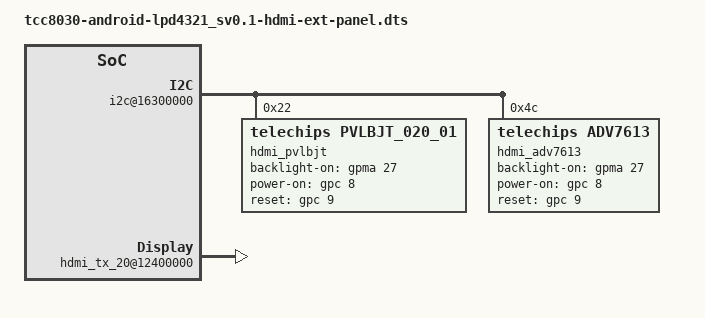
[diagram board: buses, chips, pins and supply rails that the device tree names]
// SPDX-License-Identifier: (GPL-2.0-or-later OR MIT)
/*
 * Copyright (C) Telechips Inc.
 */

#include "tcc8030-android-lpd4321_sv0.1.dts"

&pinctrl {
	hdmi_panel: hdmi_panel {
		telechips,pins = "gpma-27", "gpc-8", "gpc-9";
		telechips,pin-function = <0>;
		telechips,pull-up;
	};
};

/ {


	/* hdmi override. */
	i2c@16300000 {
		#address-cells = <1>;
		#size-cells = <0>;
		hdmi_pvlbjt {
			compatible = "telechips,pvlbjt_020_01";
			reg=<0x22>;
			hdmi-ext-panel = <1>;
			backlight-on-gpios = <&gpma 27 0>;	// BACKLIGHT ON
			power-on-gpios = <&gpc 8 0>;		// LCD_ON
			reset-gpios = <&gpc 9 0>;		// LCD_RST
			pinctrl-0 = <&hdmi_panel>;
		};
		hdmi_adv7613 {
			compatible = "telechips,adv7613";
			reg=<0x4C>;
			hdmi-ext-panel = <1>; // HDMI EXT PANEL
			main-slave = <0x4C>;
			cec-slave = <0x40>;
			info-slave = <0x3E>;
			dpll-slave = <0x26>;
			ksv-slave = <0x32>;
			edid-slave = <0x36>;
			hdmi-slave = <0x34>;
			cp-slave = <0x22>;
			lvds-slave = <0x60>;
			backlight-on-gpios = <&gpma 27 0>;	// BACKLIGHT ON
			power-on-gpios = <&gpc 8 0>;		// LCD_ON
			reset-gpios = <&gpc 9 0>;		// LCD_RST
			pinctrl-0 = <&hdmi_panel>;
		};
	};

	hdmi_tx_20@12400000 {
		status = "okay";
		pinctrl-0 = <&hdmi_hpd>;
		hdmi_ref_src_clock = <0>; // 0 XIN, 1 X-TAL, 2 PERI, 3, PMU XIN
		hdmi_phy_type = <0>; // 0 8031

		/* Source Product Description */
		product_description = "TCC8031_ivi";

		/* fixed video identification code 1024: 1920x720p 60Hz */
		fixd_video_id_code = <1024>;
	};

	/* gmac
	 * gmac1_rxer	: gpc-14
	 * gmac1_rxdv	: gpc-8
	 * gmac1_txer	: gpc-15
	 */
	gmac@11b00000 {
		status = "disable";
	};

	/* uart7_rtscts	: gpc-8, gpc-9 */
	/* i2c14_bus	: gpc-14, gpc-15 */
};
